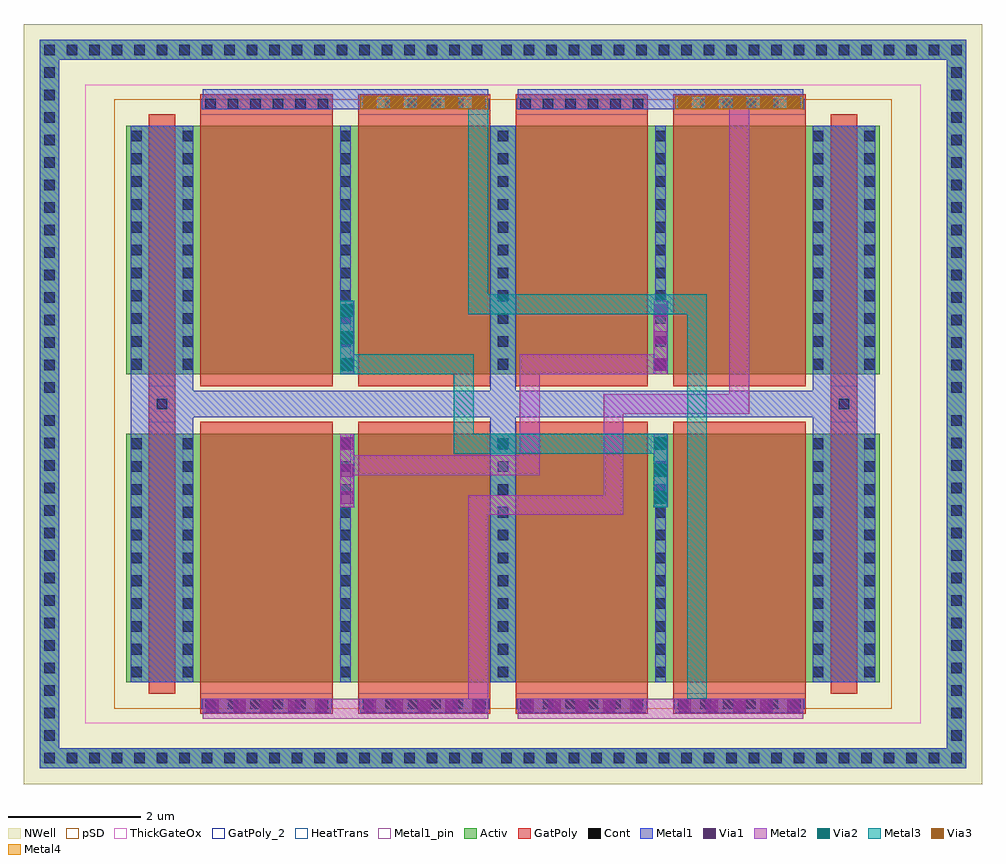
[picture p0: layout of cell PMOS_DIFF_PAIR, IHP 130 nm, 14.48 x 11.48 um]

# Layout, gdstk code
import gdstk
lib = gdstk.Library(unit=1e-6, precision=1e-09)
def R(c, l, rs):  # rectangles x0, y0, x1, y1
    for r in rs: c.add(gdstk.rectangle(r[:2], r[2:], *l))
def A(c, l, x, y, w, h, nx, ny, dx, dy):  # array of equal rectangles
    R(c, l, [(x+i*dx, y+j*dy, x+i*dx+w, y+j*dy+h) for i in range(nx) for j in range(ny)])
def P(c, l, *ps):  # polygons
    for p in ps: c.add(gdstk.Polygon(p, *l))
Activ = (1, 0)
GatPoly = (5, 0)
GatPoly_2 = (5, 2)
Cont = (6, 0)
Metal1 = (8, 0)
Metal1_pin = (8, 2)
Metal2 = (10, 0)
pSD = (14, 0)
Via1 = (19, 0)
Via2 = (29, 0)
Metal3 = (30, 0)
NWell = (31, 0)
ThickGateOx = (44, 0)
Via3 = (49, 0)
Metal4 = (50, 0)
HeatTrans = (51, 0)

guard_ring_1 = lib.new_cell('guard_ring$1')
R(guard_ring_1, Activ, [(-7,-5.2,-6.7,5.2), (6.7,-5.2,7,5.2), (-7,5.2,7,5.5)])
P(guard_ring_1, Activ, [(-7,-5.5),(-7,5.2),(-6.7,5.2),(-6.7,-5.2),(6.7,-5.2),(6.7,5.2),(-7,5.2),(-7,5.5),(7,5.5),(7,-5.5)])
A(guard_ring_1, Cont, -6.93, -5.43, 0.16, 0.16, 20, 2, 0.34, 10.7)
A(guard_ring_1, Cont, -0.03, -5.43, 0.16, 0.16, 21, 2, 0.34, 10.7)
A(guard_ring_1, Cont, -6.93, -5.09, 0.16, 0.16, 1, 15, 0, 0.34)
A(guard_ring_1, Cont, 6.77, -5.09, 0.16, 0.16, 1, 15, 0, 0.34)
A(guard_ring_1, Cont, -6.93, 0.17, 0.16, 0.16, 1, 15, 0, 0.34)
A(guard_ring_1, Cont, 6.77, 0.17, 0.16, 0.16, 1, 15, 0, 0.34)
R(guard_ring_1, Metal1, [(-7,-5.5,7,-5.2), (-7,-5.2,-6.7,5.2), (6.7,-5.2,7,5.2), (-7,5.2,7,5.5)])
R(guard_ring_1, NWell, [(-7.24,-5.74,7.24,5.74)])
guard_ring_1.add(gdstk.Label('well', (0,-5.35), layer=63, texttype=0))

pmoshv = lib.new_cell('pmosHV')
A(pmoshv, Activ, 0, 0, 0.3, 0.3, 5, 1, 2.38, 0)
R(pmoshv, Activ, [(0,0,9.82,3.75)])
A(pmoshv, GatPoly, 0.34, -0.18, 2, 4.11, 4, 1, 2.38, 0)
R(pmoshv, GatPoly_2, [(0.34,-0.18,2.34,3.93)])
A(pmoshv, Cont, 0.07, 0.07, 0.16, 0.16, 5, 11, 2.38, 0.345)
A(pmoshv, Metal1, 0.07, 0, 0.16, 3.75, 5, 1, 2.38, 0)
R(pmoshv, Metal1_pin, [(0.07,0,0.23,3.75), (2.45,0,2.61,3.75)])
R(pmoshv, pSD, [(-0.18,-0.4,10,4.15)])
R(pmoshv, NWell, [(-0.62,-0.62,10.44,4.37)])
R(pmoshv, ThickGateOx, [(-0.62,-0.62,10.44,4.37)])
A(pmoshv, HeatTrans, 0.34, -0.18, 2, 4.11, 4, 1, 2.38, 0)
pmoshv.add(gdstk.Label('pmosHV', (1.34,1.875), layer=63, texttype=0))
pmoshv.add(gdstk.Label('pmos', (1.34,1.875), layer=51, texttype=0))
pmoshv.add(gdstk.Label('pmos', (3.72,1.875), layer=51, texttype=0))
pmoshv.add(gdstk.Label('pmos', (6.1,1.875), layer=51, texttype=0))
pmoshv.add(gdstk.Label('pmos', (8.48,1.875), layer=51, texttype=0))

via_stack = lib.new_cell('via_stack')
R(via_stack, GatPoly, [(-1,-0.15,1,0.15)])
A(via_stack, Cont, -0.93, -0.08, 0.16, 0.16, 6, 1, 0.34, 0)
R(via_stack, Metal1, [(-0.98,-0.08,0.98,0.08)])

via_stack_31 = lib.new_cell('via_stack$31')
R(via_stack_31, Metal1, [(-0.965,-0.105,0.965,0.105)])
R(via_stack_31, Metal2, [(-0.965,-0.1,0.965,0.1)])
A(via_stack_31, Via1, -0.915, -0.095, 0.19, 0.19, 5, 1, 0.41, 0)
A(via_stack_31, Via2, -0.915, -0.095, 0.19, 0.19, 5, 1, 0.41, 0)
R(via_stack_31, Metal3, [(-0.965,-0.1,0.965,0.1)])
A(via_stack_31, Via3, -0.915, -0.095, 0.19, 0.19, 5, 1, 0.41, 0)
R(via_stack_31, Metal4, [(-0.965,-0.1,0.965,0.1)])

via_stack_5 = lib.new_cell('via_stack$5')
R(via_stack_5, Metal1, [(-0.965,-0.105,0.965,0.105)])
R(via_stack_5, Metal2, [(-0.965,-0.1,0.965,0.1)])
A(via_stack_5, Via1, -0.915, -0.095, 0.19, 0.19, 5, 1, 0.41, 0)

pmoshv_3 = lib.new_cell('pmosHV$3')
R(pmoshv_3, Activ, [(0,0,0.3,0.3), (0,0,1.08,3.75), (0.78,0,1.08,0.3)])
R(pmoshv_3, GatPoly, [(0.34,-0.18,0.74,3.93)])
R(pmoshv_3, GatPoly_2, [(0.34,-0.18,0.74,3.93)])
A(pmoshv_3, Cont, 0.07, 0.07, 0.16, 0.16, 1, 11, 0, 0.345)
A(pmoshv_3, Cont, 0.85, 0.07, 0.16, 0.16, 1, 11, 0, 0.345)
R(pmoshv_3, Metal1, [(0.07,0,0.23,3.75), (0.85,0,1.01,3.75)])
R(pmoshv_3, Metal1_pin, [(0.07,0,0.23,3.75), (0.85,0,1.01,3.75)])
R(pmoshv_3, pSD, [(-0.18,-0.4,1.26,4.15)])
R(pmoshv_3, NWell, [(-0.62,-0.62,1.7,4.37)])
R(pmoshv_3, ThickGateOx, [(-0.62,-0.62,1.7,4.37)])
R(pmoshv_3, HeatTrans, [(0.34,-0.18,0.74,3.93)])
pmoshv_3.add(gdstk.Label('pmosHV', (0.54,1.875), layer=63, texttype=0))
pmoshv_3.add(gdstk.Label('pmos', (0.54,1.875), layer=51, texttype=0))

via_stack_8 = lib.new_cell('via_stack$8')
R(via_stack_8, GatPoly, [(-0.15,-0.15,0.15,0.15)])
R(via_stack_8, Cont, [(-0.08,-0.08,0.08,0.08)])
R(via_stack_8, Metal1, [(-0.13,-0.08,0.13,0.08)])

via_stack_11 = lib.new_cell('via_stack$11')
R(via_stack_11, Metal1, [(-0.105,-0.555,0.105,0.555)])
R(via_stack_11, Metal2, [(-0.1,-0.555,0.1,0.555)])
A(via_stack_11, Via1, -0.095, -0.505, 0.19, 0.19, 1, 3, 0, 0.41)

via_stack_10 = lib.new_cell('via_stack$10')
R(via_stack_10, Metal1, [(-0.105,-0.555,0.105,0.555)])
R(via_stack_10, Metal2, [(-0.1,-0.555,0.1,0.555)])
A(via_stack_10, Via1, -0.095, -0.505, 0.19, 0.19, 1, 3, 0, 0.41)
A(via_stack_10, Via2, -0.095, -0.505, 0.19, 0.19, 1, 3, 0, 0.41)
R(via_stack_10, Metal3, [(-0.1,-0.555,0.1,0.555)])

pmos_diff_pair = lib.new_cell('PMOS_DIFF_PAIR')
R(pmos_diff_pair, GatPoly, [(1.89,5.47,2.29,6.01), (12.19,5.47,12.59,6.01)])
R(pmos_diff_pair, Metal1, [(1.62,1.54,2.56,5.54), (7.05,1.54,7.43,9.94), (11.92,1.54,12.86,5.54), (1.62,5.54,12.86,5.94), (1.62,5.94,2.56,9.94), (11.92,5.94,12.86,9.94), (2.705,10.195,7.015,10.495), (7.465,10.195,11.775,10.495)])
R(pmos_diff_pair, Metal2, [(2.705,0.985,7.015,1.285), (7.465,0.985,11.775,1.285), (6.715,1.285,7.015,4.365), (7.015,4.065,9.06,4.365), (8.76,4.365,9.06,5.765), (4.985,4.665,7.495,4.965), (7.495,4.665,7.795,6.19), (8.76,5.59,10.96,5.89), (10.66,5.89,10.96,10.195), (7.495,6.19,9.52,6.49)])
R(pmos_diff_pair, pSD, [(1.37,1.14,13.11,10.34)])
R(pmos_diff_pair, Metal3, [(10.02,1.285,10.32,7.095), (6.715,7.095,7.015,7.695), (6.715,7.095,7.015,10.195), (6.8,7.095,8.065,7.395), (8.065,7.095,10.32,7.395)])
P(pmos_diff_pair, Metal3, [(6.495,4.99),(6.495,6.19),(4.94,6.19),(4.94,6.49),(6.795,6.49),(6.795,5.29),(9.52,5.29),(9.52,4.99)])
pmos_diff_pair.add(gdstk.Reference(guard_ring_1, (7.24,5.74)))
pmos_diff_pair.add(gdstk.Reference(pmoshv, (2.33,1.54)))
pmos_diff_pair.add(gdstk.Reference(via_stack, (10.81,10.27)))
pmos_diff_pair.add(gdstk.Reference(via_stack, (10.81,1.21)))
pmos_diff_pair.add(gdstk.Reference(via_stack_31, (10.81,10.295)))
pmos_diff_pair.add(gdstk.Reference(via_stack_5, (10.81,1.185)))
pmos_diff_pair.add(gdstk.Reference(pmoshv, (2.33,6.19)))
pmos_diff_pair.add(gdstk.Reference(pmoshv_3, (11.85,6.19)))
pmos_diff_pair.add(gdstk.Reference(pmoshv_3, (11.85,1.54)))
pmos_diff_pair.add(gdstk.Reference(via_stack_8, (12.39,5.74)))
pmos_diff_pair.add(gdstk.Reference(pmoshv_3, (1.55,6.19)))
pmos_diff_pair.add(gdstk.Reference(pmoshv_3, (1.55,1.54)))
pmos_diff_pair.add(gdstk.Reference(via_stack, (3.67,1.21)))
pmos_diff_pair.add(gdstk.Reference(via_stack, (3.67,10.27)))
pmos_diff_pair.add(gdstk.Reference(via_stack_5, (3.67,1.185)))
pmos_diff_pair.add(gdstk.Reference(via_stack, (6.05,10.27)))
pmos_diff_pair.add(gdstk.Reference(via_stack, (8.43,10.27)))
pmos_diff_pair.add(gdstk.Reference(via_stack, (6.05,1.21)))
pmos_diff_pair.add(gdstk.Reference(via_stack, (8.43,1.21)))
pmos_diff_pair.add(gdstk.Reference(via_stack_31, (6.05,10.295)))
pmos_diff_pair.add(gdstk.Reference(via_stack_5, (6.05,1.185)))
pmos_diff_pair.add(gdstk.Reference(via_stack_5, (8.43,1.185)))
pmos_diff_pair.add(gdstk.Reference(via_stack_8, (2.09,5.74)))
pmos_diff_pair.add(gdstk.Reference(via_stack_11, (9.62,6.745)))
pmos_diff_pair.add(gdstk.Reference(via_stack_11, (4.885,4.735)))
pmos_diff_pair.add(gdstk.Reference(via_stack_10, (9.62,4.735)))
pmos_diff_pair.add(gdstk.Reference(via_stack_10, (4.885,6.745)))

lib.write_gds('PMOS_DIFF_PAIR.gds')
